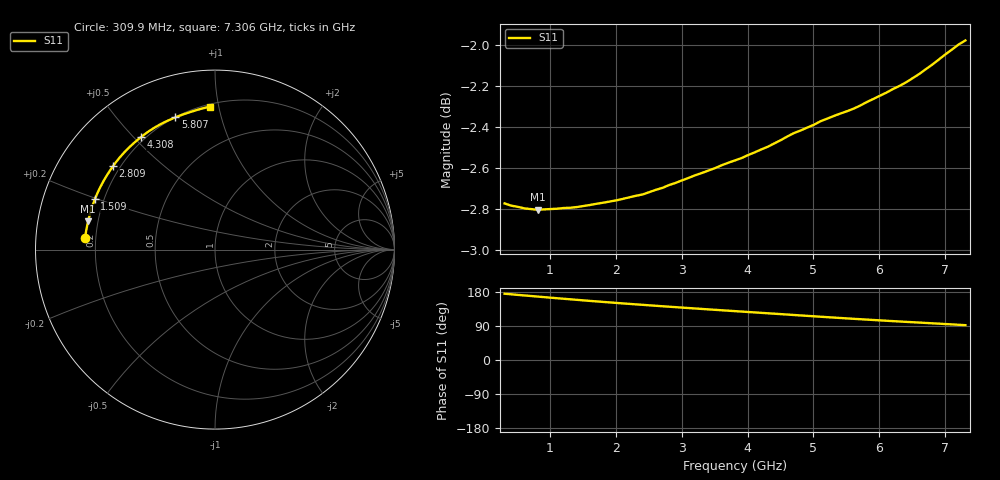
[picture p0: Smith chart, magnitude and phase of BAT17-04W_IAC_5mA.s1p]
! Infineon Technologies  Discrete & RF Semiconductors
! BAT17-04W
! IAC = 5 mA
! One-Port S-Parameters
# Hz  S  MA  R  50
!f  S11
!Hz  Mag  Ang
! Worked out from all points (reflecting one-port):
!   71 points, 309.9 MHz to 7.306 GHz, reference 50 ohm
!   lowest |S11| = -2.8 dB at 809.6 MHz (marker M1), VSWR 6.25, Z = 8.09 + j5.38 ohm
!   phase of S11 starts at 175 deg and turns -83 deg over the sweep
!   S11 on the Smith chart (normalised r, x): 309.9 MHz: 0.16, +0.04; 1.509 GHz: 0.17, +0.20; 2.809 GHz: 0.17, +0.35; 4.308 GHz: 0.18, +0.53; 5.807 GHz: 0.20, +0.73; 7.306 GHz: 0.22, +0.94
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3.0985e8  0.7268 174.9
5.0975e8  0.7254 171.8
8.096e8  0.7242 167.4
1.0095e9  0.7245 164.4
1.2094e9  0.7249 161.6
1.50925e9  0.7257 157.3
1.8091e9  0.7271 153.2
2.10895e9  0.7286 149.3
2.30885e9  0.7299 146.8
2.50875e9  0.7314 144.3
2.8086e9  0.7343 140.6
3.0085e9  0.7362 138.2
3.4083e9  0.7403 133.6
3.6082e9  0.7425 131.2
3.8081e9  0.7445 128.9
4.10795e9  0.7478 125.5
4.30785e9  0.7502 123.3
4.50775e9  0.753 121.0
4.70765e9  0.756 118.7
4.90755e9  0.7583 116.4
5.2074e9  0.7621 113.1
5.4073e9  0.7642 110.9
5.6072e9  0.7663 108.7
5.8071e9  0.7691 106.6
6.2069e9  0.7748 102.6
6.50675e9  0.7795 99.7
7.0065e9  0.7901 94.9
7.30635e9  0.7962 91.9
